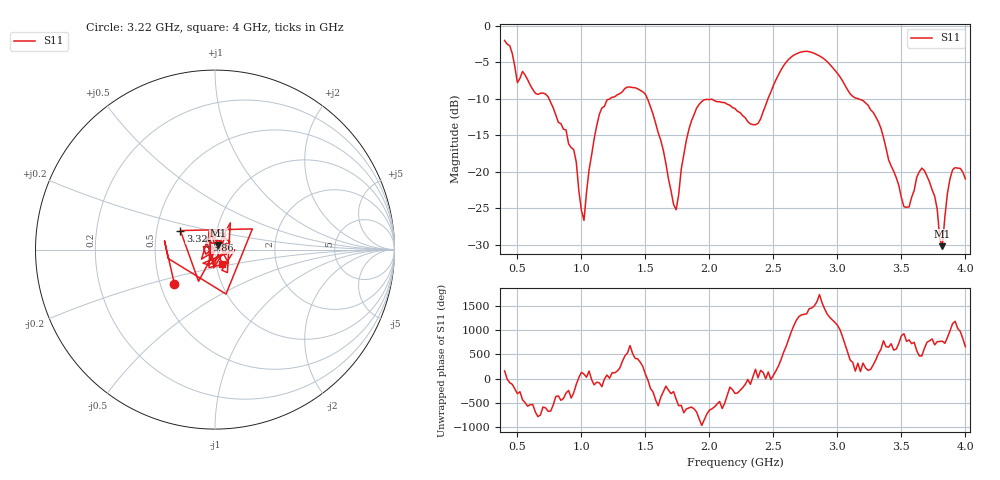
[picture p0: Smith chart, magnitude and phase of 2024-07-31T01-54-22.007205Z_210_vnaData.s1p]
!Created with skrf (http://scikit-rf.org).
# Hz S RI R 50.0
!freq ReS11 ImS11
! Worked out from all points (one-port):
!   181 points, 400 MHz to 4 GHz, reference 50 ohm
!   lowest |S11| = -30.2 dB at 3.82 GHz (marker M1), VSWR 1.06, Z = 51.9 + j2.55 ohm
!   |S11| at or under -10 dB: 747 MHz to 1.223 GHz (475.6 MHz wide, 48.3 % of centre); 1.516 GHz to 2.458 GHz (941.4 MHz wide, 47.4 % of centre); 3.163 GHz to end of sweep
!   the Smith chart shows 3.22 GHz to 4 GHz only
!   S11 on the Smith chart (normalised r, x): 3.22 GHz: 0.59, -0.25; 3.32 GHz: 0.66, +0.15; 3.86 GHz: 0.90, +0.10; 4 GHz: 1.07, -0.17
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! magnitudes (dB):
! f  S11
! 400 MHz  -2.0
! 500 MHz  -7.8
! 720 MHz  -9.3
! 860 MHz  -14.2
! 940 MHz  -17.0
! 1.02 GHz  -26.6
! 1.06 GHz  -19.7
! 1.14 GHz  -12.1
! 1.3 GHz  -9.3
! 1.5 GHz  -9.4
! 1.72 GHz  -24.5
! 1.76 GHz  -23.1
! 1.82 GHz  -15.7
! 1.9 GHz  -11.3
! 2.2 GHz  -11.3
! 2.38 GHz  -13.4
! 2.66 GHz  -4.0
! 2.88 GHz  -4.4
! 3.1 GHz  -9.3
! 3.22 GHz  -10.6
! 3.32 GHz  -13.2
! 3.56 GHz  -24.8
! 3.68 GHz  -19.8
! 3.76 GHz  -23.3
! 3.82 GHz  -30.2
! 3.86 GHz  -22.9
! 3.92 GHz  -19.4
! 4 GHz  -21.0
